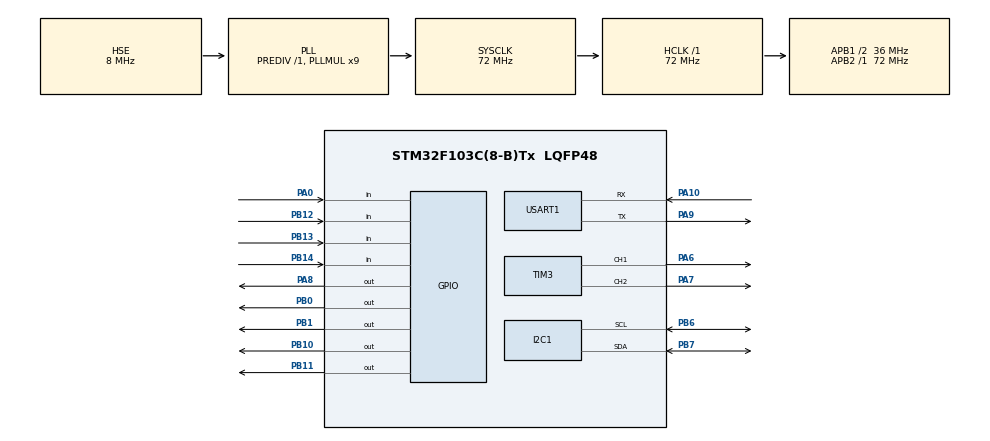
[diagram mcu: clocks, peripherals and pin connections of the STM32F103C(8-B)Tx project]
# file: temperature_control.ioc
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I2C1.I2C_Mode=I2C_Fast
Mcu.Family=STM32F1
Mcu.Name=STM32F103C(8-B)Tx
Mcu.Package=LQFP48
NVIC.PriorityGroup=NVIC_PRIORITYGROUP_4
NVIC.USART1_IRQn=true\:0\:0\:false\:false\:true\:true\:true\:true
PA0-WKUP.GPIO_PuPd=GPIO_PULLUP
PA0-WKUP.Signal=GPIO_Input
PA10.Mode=Asynchronous
PA10.Signal=USART1_RX
PA13.Mode=Serial_Wire
PA13.Signal=SYS_JTMS-SWDIO
PA14.Mode=Serial_Wire
PA14.Signal=SYS_JTCK-SWCLK
PA6.GPIO_Speed=GPIO_SPEED_FREQ_MEDIUM
PA6.Signal=S_TIM3_CH1
PA7.GPIO_Speed=GPIO_SPEED_FREQ_MEDIUM
PA7.Signal=S_TIM3_CH2
PA8.GPIO_PuPd=GPIO_NOPULL
PA8.GPIO_Speed=GPIO_SPEED_FREQ_MEDIUM
PA8.PinState=GPIO_PIN_SET
PA8.Signal=GPIO_Output
PA9.Mode=Asynchronous
PA9.Signal=USART1_TX
PB0.GPIO_Speed=GPIO_SPEED_FREQ_MEDIUM
PB0.Signal=GPIO_Output
PB1.GPIO_Speed=GPIO_SPEED_FREQ_MEDIUM
PB1.Signal=GPIO_Output
PB10.GPIO_Speed=GPIO_SPEED_FREQ_MEDIUM
PB10.Signal=GPIO_Output
PB11.GPIO_Speed=GPIO_SPEED_FREQ_MEDIUM
PB11.Signal=GPIO_Output
PB12.GPIO_PuPd=GPIO_PULLUP
PB12.Signal=GPIO_Input
PB13.GPIO_PuPd=GPIO_PULLUP
PB13.Signal=GPIO_Input
PB14.GPIO_PuPd=GPIO_PULLUP
PB14.Signal=GPIO_Input
PB6.Mode=I2C
PB6.Signal=I2C1_SCL
PB7.Mode=I2C
PB7.Signal=I2C1_SDA
PC14-OSC32_IN.Mode=LSE-External-Oscillator
PC14-OSC32_IN.Signal=RCC_OSC32_IN
PC15-OSC32_OUT.Mode=LSE-External-Oscillator
PC15-OSC32_OUT.Signal=RCC_OSC32_OUT
PD0-OSC_IN.Mode=HSE-External-Oscillator
PD0-OSC_IN.Signal=RCC_OSC_IN
PD1-OSC_OUT.Mode=HSE-External-Oscillator
PD1-OSC_OUT.Signal=RCC_OSC_OUT
ProjectManager.HeapSize=0x200
ProjectManager.StackSize=0x400
ProjectManager.TargetToolchain=MDK-ARM V5.32
RCC.AHBFreq_Value=72000000
RCC.APB1CLKDivider=RCC_HCLK_DIV2
RCC.APB1Freq_Value=36000000
RCC.APB1TimFreq_Value=72000000
RCC.APB2Freq_Value=72000000
RCC.APB2TimFreq_Value=72000000
RCC.HCLKFreq_Value=72000000
RCC.PLLMUL=RCC_PLL_MUL9
RCC.PLLSourceVirtual=RCC_PLLSOURCE_HSE
RCC.RTCClockSelection=RCC_RTCCLKSOURCE_LSE
RCC.SYSCLKFreq_VALUE=72000000
RCC.SYSCLKSource=RCC_SYSCLKSOURCE_PLLCLK
RCC.USBFreq_Value=48000000
RCC.USBPrescaler=RCC_USBCLKSOURCE_PLL_DIV1_5
SH.S_TIM3_CH1.0=TIM3_CH1,PWM Generation1 CH1
SH.S_TIM3_CH2.0=TIM3_CH2,PWM Generation2 CH2
TIM3.Channel-PWM\ Generation1\ CH1=TIM_CHANNEL_1
TIM3.Channel-PWM\ Generation2\ CH2=TIM_CHANNEL_2
USART1.VirtualMode=VM_ASYNC
VP_RTC_VS_RTC_Activate.Mode=RTC_Enabled
VP_TIM3_VS_ClockSourceITR.Mode=TriggerSource_ITR0
board=custom

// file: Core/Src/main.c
/* USER CODE BEGIN Header */
/**
  ******************************************************************************
  * @file           : main.c
  * @brief          : 生化培养箱控制系统主程序
  *
  * 系统功能:
  *   1. DS18B20 温度传感器实时测温
  *   2. 4×3 矩阵键盘设定目标温度
  *   3. 位置式 PID 算法计算控制量
  *   4. BTS7960 H桥驱动加热片/TEC制冷片
  *   5. OLED 显示温度、状态、运行时间
 *   6. USART1 串口与上位机通信
 *   7. 蜂鸣器超限报警
 *
 * 主循环周期: 200ms, 数据上报周期: 1s
  ******************************************************************************
  */
/* USER CODE END Header */
#include "main.h"
#include "i2c.h"
#include "rtc.h"
#include "tim.h"
#include "usart.h"
#include "gpio.h"

/* USER CODE BEGIN Includes */
#include "ds18b20.h"
#include "oled.h"
#include "key.h"
#include "pid.h"
#include "control.h"
#include "usart_com.h"
#include <string.h>
#include <stdio.h>
#include <stdlib.h>
/* USER CODE END Includes */

/* USER CODE BEGIN PV */
/* ========== 全局变量 (被 main.h 声明为 extern) ========== */
volatile SystemState sys_state = SYSTEM_STATE_IDLE;  /* 系统运行状态 */
volatile float current_temp = 0.0f;                  /* 当前实测温度 (°C) */
volatile float target_temp = TEMP_DEFAULT;           /* 目标设定温度 (°C) */
volatile uint32_t run_time_sec = 0;                  /* 累计运行秒数 */

/* ========== 模块句柄 ========== */
static PID_HandleTypeDef hpid;          /* PID 控制器 */
static Control_HandleTypeDef hctrl;     /* BTS7960 控制输出 */

/* ========== 内部状态变量 ========== */
static float pid_out = 0.0f;            /* PID 计算输出值 */
static uint8_t key_val;                 /* 最新按键值 */
static uint8_t setting_buf[4];          /* 温度设定输入缓冲区 */
static uint8_t setting_idx = 0;         /* 当前输入位置 */
static uint32_t last_tick = 0;          /* 上次控制周期时间戳 */
static uint32_t last_uart_tick = 0;     /* 上次串口上报时间戳 */
static uint8_t alarm_active = 0;        /* 报警标志 (防重复触发) */
static uint32_t run_time_ms = 0;        /* 运行时间毫秒累加器 */
static uint8_t ds18b20_conv_started = 0; /* DS18B20 非阻塞转换标志 */
static uint8_t ds18b20_cycle_cnt = 0;   /* DS18B20 读数跳过计数 (每4周期=800ms读一次) */
/* 三段式报警内部计数器 (文件级以便 ProcessKey 复位) */
static uint32_t alarm_startup_cnt = 0;
static float    alarm_min_error   = 0.0f;
static uint32_t alarm_stuck_cnt   = 0;
/* USER CODE END PV */

void SystemClock_Config(void);

/* USER CODE BEGIN 0 */

/* ── 显示启动画面 (2秒) ── */
static void Display_Splash(void)
{
    OLED_Clear();
    OLED_ShowString(16, 0, "Bio-Incubator", 8);
    OLED_ShowString(20, 24, "System v1.0", 6);
    OLED_ShowString(4, 40, "Initializing...", 6);
    OLED_Display();
    HAL_Delay(2000);
}

/* ── 刷新 OLED 显示 ── */
static void Display_Update(void)
{
    OLED_Clear();

    /* 第1行: 标题 */
    OLED_ShowString(0, 0, "Bio-Incubator", 8);

    char line[22];
    RTC_TimeTypeDef rtc_now;

    /* 第2行: 当前温度 */
    snprintf(line, sizeof(line), "Now:%5.1f C", current_temp);
    OLED_ShowString(0, 16, line, 6);

    /* 第3行: 目标温度 */
    snprintf(line, sizeof(line), "Set:%5.1f C", target_temp);
    OLED_ShowString(0, 24, line, 6);

    /* 第4行: 运行状态 */
    switch (sys_state)
    {
        case SYSTEM_STATE_IDLE:
            OLED_ShowString(0, 32, "Status: IDLE", 6);
            break;
        case SYSTEM_STATE_RUNNING:
            OLED_ShowString(0, 32, "Status: RUN", 6);
            break;
        case SYSTEM_STATE_SETTING:
            snprintf(line, sizeof(line), "Set: %d", (int)target_temp);
            OLED_ShowString(0, 40, line, 6);
            OLED_ShowString(0, 48, "Input Temp...", 6);
            OLED_Display();
            return;
        case SYSTEM_STATE_ALARM:
            OLED_ShowString(0, 32, "Status: ALARM", 6);
            break;
    }

    /* 第5行: PID 输出值 */
    snprintf(line, sizeof(line), "PID:%+5.1f%%", (double)pid_out);
    OLED_ShowString(0, 40, line, 6);

    /* 第6行: 系统时间 + 运行时间 */
    HAL_RTC_GetTime(&hrtc, &rtc_now, RTC_FORMAT_BIN);
    snprintf(line, sizeof(line), "%02u:%02u:%02u Run:%4lu s",
        rtc_now.Hours, rtc_now.Minutes, rtc_now.Seconds, run_time_sec);
    OLED_ShowString(0, 48, line, 6);

    OLED_Display();
}

/* ── 温度超限报警检查 (三段式算法) ──
 *
 * 阶段一: 启动免扰 (前10min) → 不报警, 给PID充分时间
 * 阶段二: |偏差|≤2℃ → 正常, 清除报警
 * 阶段三: |偏差|>2℃ 且 持续60s无改善 → 设备可能故障, 报警
 *
 * 传函 G(s)=1.0·e^{-62s}/(225s+1) → τ=62s, T₁=225s
 * 免扰10min = 2.5·T₁, 卡住60s ≈ τ
 */
#define STARTUP_FREE_CYCLES  3000   /* 10min / 0.2s = 3000 控制周期 */
#define STUCK_THRESHOLD      300    /* 60s / 0.2s = 300 周期 */

static void Alarm_ResetCounters(void)
{
    alarm_startup_cnt = 0;
    alarm_min_error   = 0.0f;
    alarm_stuck_cnt   = 0;
}

static void Alarm_ClearBuzzer(void)
{
    alarm_active = 0;
    HAL_GPIO_WritePin(BUZZER_PORT, BUZZER_PIN, GPIO_PIN_SET);
}

static void Alarm_Check(void)
{
    float diff = current_temp - target_temp;
    float abs_err = (diff > 0) ? diff : (-diff);

    /* ── 非运行态: 确保蜂鸣器关闭 (兼容旧版行为) ── */
    if (sys_state != SYSTEM_STATE_RUNNING && sys_state != SYSTEM_STATE_ALARM)
    {
        Alarm_ClearBuzzer();
        return;
    }

    /* ── 阶段一: 启动免扰 ── */
    if (alarm_startup_cnt < STARTUP_FREE_CYCLES)
    {
        alarm_startup_cnt++;
        Alarm_ClearBuzzer();
        return;
    }

    /* ── 阶段二: 偏差在正常范围 ── */
    if (abs_err <= ALARM_TEMP_HIGH)
    {
        alarm_stuck_cnt = 0;
        alarm_min_error = 0.0f;
        if (sys_state == SYSTEM_STATE_ALARM)
            sys_state = SYSTEM_STATE_RUNNING;
        Alarm_ClearBuzzer();
        return;
    }

    /* ── 阶段三: 偏差 > 2℃ ── */
    if (alarm_min_error == 0.0f || abs_err < alarm_min_error)
    {
        alarm_min_error = abs_err;
        alarm_stuck_cnt = 0;
    }
    else
    {
        alarm_stuck_cnt++;
    }

    if (alarm_stuck_cnt >= STUCK_THRESHOLD)
    {
        sys_state = SYSTEM_STATE_ALARM;
        alarm_active = 1;
        HAL_GPIO_WritePin(BUZZER_PORT, BUZZER_PIN, GPIO_PIN_RESET);
    }
}

/* ── 按键处理 (状态机) ── */
static void ProcessKey(uint8_t key)
{
    if (key == KEY_NONE) return;

    /* 【*】键: 进入设置 / 退格 */
    if (key == 0x0A)
    {
        if (sys_state == SYSTEM_STATE_SETTING)
        {
            if (setting_idx > 0) setting_idx--;  /* 退格删除一位 */
        }
        else
        {
            sys_state = SYSTEM_STATE_SETTING;    /* 进入温度设置模式 */
            setting_idx = 0;
            memset(setting_buf, 0, sizeof(setting_buf));
        }
        return;
    }

    /* 【#】键: 确认设置 / 启停切换 */
    if (key == 0x0B)
    {
        if (sys_state == SYSTEM_STATE_SETTING)
        {
            if (setting_idx > 0)
            {
                uint16_t raw = 0;
                for (uint8_t i = 0; i < setting_idx; i++)
                {
                    raw = raw * 10 + setting_buf[i];
                }
                /* 2位→整数, 3位→末位为小数 (如 375 → 37.5) */
                float val;
                if (setting_idx >= 3)
                    val = raw / 10.0f;
                else
                    val = (float)raw;

                if (val >= TEMP_MIN && val <= TEMP_MAX)
                {
                    target_temp = val;
                }
            }
            sys_state = SYSTEM_STATE_RUNNING;   /* 确认后开始运行 */
            setting_idx = 0;
            Alarm_ResetCounters();
            alarm_active = 0;
            HAL_GPIO_WritePin(BUZZER_PORT, BUZZER_PIN, GPIO_PIN_SET);
            PID_Reset(&hpid);
            run_time_sec = 0;
            run_time_ms = 0;
        }
        else
        {
            /* 运行 ↔ 空闲 切换 */
            if (sys_state == SYSTEM_STATE_RUNNING)
            {
                sys_state = SYSTEM_STATE_IDLE;
                Control_Stop(&hctrl);
                run_time_sec = 0;
                run_time_ms = 0;
            }
            else
            {
                sys_state = SYSTEM_STATE_RUNNING;
                Alarm_ResetCounters();
                alarm_active = 0;
                HAL_GPIO_WritePin(BUZZER_PORT, BUZZER_PIN, GPIO_PIN_SET);
                run_time_sec = 0;
                run_time_ms = 0;
            }
        }
        return;
    }

    /* 【0-9】键: 在设置模式下输入数字 */
    if (sys_state == SYSTEM_STATE_SETTING && key <= 9)
    {
        if (setting_idx < 4)
        {
            setting_buf[setting_idx++] = key;
        }
    }
}

/* ── 通过串口上报实时数据 ── */
static void UART_SendData(void)
{
    UART_Printf("T:%.1f,SET:%.1f,PID:%.1f,HT:%d%%,CL:%d%%,RUN:%lu\r\n",
        current_temp, target_temp, (double)pid_out,
        hctrl.heat_duty, hctrl.cool_duty, run_time_sec);
}

/* ── 解析并执行上位机串口命令 ── */
static void ProcessUartCmd(void)
{
    if (uart_rx_flag)
    {
        uart_rx_flag = 0;
        char *cmd = (char*)uart_rx_buf;

        if (strncmp(cmd, "SET:", 4) == 0)
        {
            /* 格式: SET:37.5 */
            float val = atof(cmd + 4);
            if (val >= TEMP_MIN && val <= TEMP_MAX)
            {
                target_temp = val;
                PID_Reset(&hpid);
                if (sys_state != SYSTEM_STATE_RUNNING)
                {
                    sys_state = SYSTEM_STATE_RUNNING;
                    run_time_sec = 0;
                }
                UART_Printf("OK:%.1f\r\n", val);
            }
            else
            {
                UART_Printf("ERR:RANGE\r\n");
            }
        }
        else if (strncmp(cmd, "STOP", 4) == 0)
        {
            /* 停止控温 */
            sys_state = SYSTEM_STATE_IDLE;
            Control_Stop(&hctrl);
            run_time_sec = 0;
            run_time_ms = 0;
            UART_Printf("OK:STOPPED\r\n");
        }
        else if (strncmp(cmd, "STATUS", 6) == 0)
        {
            /* 查询当前状态 */
            UART_SendData();
        }
        else
        {
            UART_Printf("ERR:UNKNOWN\r\n");
        }
        uart_rx_len = 0;
    }
}
/* USER CODE END 0 */

int main(void)
{

  /* MCU Configuration--------------------------------------------------------*/

  /* Reset of all peripherals, Initializes the Flash interface and the Systick. */
  HAL_Init();

  /* Configure the system clock */
  SystemClock_Config();

  /* Initialize all configured peripherals */
  MX_GPIO_Init();
  MX_I2C1_Init();
  MX_TIM3_Init();
  MX_USART1_UART_Init();
  MX_RTC_Init();
  /* USER CODE BEGIN 2 */
    /* 初始化 RTC 时间: 上电从 00:00:00 开始 */
    RTC_TimeTypeDef rtc_init = {0};
    rtc_init.Hours = 0;
    rtc_init.Minutes = 0;
    rtc_init.Seconds = 0;
    HAL_RTC_SetTime(&hrtc, &rtc_init, RTC_FORMAT_BIN);

    /* 关闭蜂鸣器 (高电平=关) */
    HAL_GPIO_WritePin(BUZZER_PORT, BUZZER_PIN, GPIO_PIN_SET);

    /* 初始化 OLED 并显示启动画面 */
    OLED_Init();
    Display_Splash();

    /* 初始化传感器和输入 */
    if (!DS18B20_Init())
    {
        OLED_Clear();
        OLED_ShowString(0, 0, "DS18B20 Error!", 8);
        OLED_ShowString(0, 24, "Check Sensor", 6);
        OLED_Display();
    }
    Key_Init();

    /* 初始化控制模块 */
    PID_Init(&hpid, 15.0f, 0.8f, 2.5f, 0.2f, 100.0f, -100.0f);
    Control_Init();
    UART_Init();

    /* 初始温度读取 (非阻塞: 启动转换后等待完成) */
    DS18B20_StartConversion();
    HAL_Delay(750);
    current_temp = DS18B20_ReadResult();
    ds18b20_conv_started = 0;

    target_temp = TEMP_DEFAULT;
    sys_state = SYSTEM_STATE_IDLE;
    last_tick = HAL_GetTick();
    last_uart_tick = last_tick;
  /* USER CODE END 2 */

  /* Infinite loop */
  /* USER CODE BEGIN WHILE */
  while (1)
  {
        uint32_t now = HAL_GetTick();

        /* ① 按键扫描与处理 (每轮主循环执行, 不依赖 200ms 周期) */
        key_val = Key_Scan();
        if (key_val != KEY_NONE)
        {
            ProcessKey(key_val);
            Display_Update();  /* 按键后立即刷新, 不等 200ms */
        }

        /* 每 200ms 执行一次控制周期 */
        if (now - last_tick >= CONTROL_CYCLE_MS)
        {
            last_tick = now;

            /* ② 温度采集 (非阻塞: 跳过3周期=800ms, 大于DS18B20最大转换时间750ms) */
            if (ds18b20_conv_started)
            {
                ds18b20_cycle_cnt++;
                if (ds18b20_cycle_cnt >= 4)
                {
                    ds18b20_cycle_cnt = 0;
                    current_temp = DS18B20_ReadResult();
                    DS18B20_StartConversion();
                }
            }
            else
            {
                DS18B20_StartConversion();
                ds18b20_conv_started = 1;
                ds18b20_cycle_cnt = 0;
            }

            /* ③ 安全守卫: 控制周期开始前确保蜂鸣器初始关闭 */
            HAL_GPIO_WritePin(BUZZER_PORT, BUZZER_PIN, GPIO_PIN_SET);

            /* ④ 报警检测 (始终执行, 不依赖运行状态) */
            Alarm_Check();

            /* ⑤ 运行/报警状态下执行 PID 控制 (报警只响蜂鸣器, 不停控温) */
            if (sys_state == SYSTEM_STATE_RUNNING || sys_state == SYSTEM_STATE_ALARM)
            {
                pid_out = PID_Calculate(&hpid, target_temp, current_temp);
                Control_ProcessOutput(&hctrl, pid_out);

                run_time_ms += CONTROL_CYCLE_MS;
                if (run_time_ms >= 1000)
                {
                    run_time_sec += run_time_ms / 1000;
                    run_time_ms %= 1000;
                }
            }

            /* ⑤ 刷新 OLED 显示 */
            Display_Update();
        }

        /* 每 1s 通过串口上报一次数据 */
        if (now - last_uart_tick >= USB_REPORT_CYCLE)
        {
            last_uart_tick = now;
            UART_SendData();
        }

        /* 接收串口数据并处理上位机命令 */
        UART_ProcessRx();
        ProcessUartCmd();
    /* USER CODE END WHILE */

  }
}

void SystemClock_Config(void)
{
  RCC_OscInitTypeDef RCC_OscInitStruct = {0};
  RCC_ClkInitTypeDef RCC_ClkInitStruct = {0};
  RCC_PeriphCLKInitTypeDef PeriphClkInit = {0};

  /** Initializes the RCC Oscillators according to the specified parameters
  * in the RCC_OscInitTypeDef structure.
  */
  RCC_OscInitStruct.OscillatorType = RCC_OSCILLATORTYPE_HSE|RCC_OSCILLATORTYPE_LSE;
  RCC_OscInitStruct.HSEState = RCC_HSE_ON;
  RCC_OscInitStruct.HSEPredivValue = RCC_HSE_PREDIV_DIV1;
  RCC_OscInitStruct.LSEState = RCC_LSE_ON;
  RCC_OscInitStruct.HSIState = RCC_HSI_ON;
  RCC_OscInitStruct.PLL.PLLState = RCC_PLL_ON;
  RCC_OscInitStruct.PLL.PLLSource = RCC_PLLSOURCE_HSE;
  RCC_OscInitStruct.PLL.PLLMUL = RCC_PLL_MUL9;
  if (HAL_RCC_OscConfig(&RCC_OscInitStruct) != HAL_OK)
  {
    Error_Handler();
  }

  /** Initializes the CPU, AHB and APB buses clocks
  */
  RCC_ClkInitStruct.ClockType = RCC_CLOCKTYPE_HCLK|RCC_CLOCKTYPE_SYSCLK
                              |RCC_CLOCKTYPE_PCLK1|RCC_CLOCKTYPE_PCLK2;
  RCC_ClkInitStruct.SYSCLKSource = RCC_SYSCLKSOURCE_PLLCLK;
  RCC_ClkInitStruct.AHBCLKDivider = RCC_SYSCLK_DIV1;
  RCC_ClkInitStruct.APB1CLKDivider = RCC_HCLK_DIV2;
  RCC_ClkInitStruct.APB2CLKDivider = RCC_HCLK_DIV1;

  if (HAL_RCC_ClockConfig(&RCC_ClkInitStruct, FLASH_LATENCY_2) != HAL_OK)
  {
    Error_Handler();
  }
  PeriphClkInit.PeriphClockSelection = RCC_PERIPHCLK_RTC;
  PeriphClkInit.RTCClockSelection = RCC_RTCCLKSOURCE_LSE;
  if (HAL_RCCEx_PeriphCLKConfig(&PeriphClkInit) != HAL_OK)
  {
    Error_Handler();
  }
}

void Error_Handler(void)
{
  __disable_irq();
  while (1)
  {
  }
}
